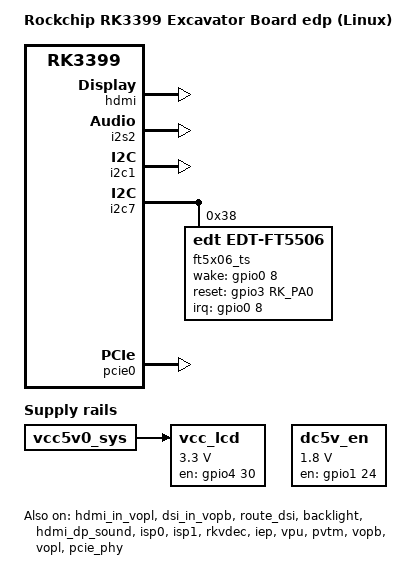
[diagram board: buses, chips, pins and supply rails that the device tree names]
/*
 * Copyright (c) 2016 Fuzhou Rockchip Electronics Co., Ltd
 *
 * This file is dual-licensed: you can use it either under the terms
 * of the GPL or the X11 license, at your option. Note that this dual
 * licensing only applies to this file, and not this project as a
 * whole.
 *
 *  a) This file is free software; you can redistribute it and/or
 *     modify it under the terms of the GNU General Public License as
 *     published by the Free Software Foundation; either version 2 of the
 *     License, or (at your option) any later version.
 *
 *     This file is distributed in the hope that it will be useful,
 *     but WITHOUT ANY WARRANTY; without even the implied warranty of
 *     MERCHANTABILITY or FITNESS FOR A PARTICULAR PURPOSE.  See the
 *     GNU General Public License for more details.
 *
 * Or, alternatively,
 *
 *  b) Permission is hereby granted, free of charge, to any person
 *     obtaining a copy of this software and associated documentation
 *     files (the "Software"), to deal in the Software without
 *     restriction, including without limitation the rights to use,
 *     copy, modify, merge, publish, distribute, sublicense, and/or
 *     sell copies of the Software, and to permit persons to whom the
 *     Software is furnished to do so, subject to the following
 *     conditions:
 *
 *     The above copyright notice and this permission notice shall be
 *     included in all copies or substantial portions of the Software.
 *
 *     THE SOFTWARE IS PROVIDED "AS IS", WITHOUT WARRANTY OF ANY KIND,
 *     EXPRESS OR IMPLIED, INCLUDING BUT NOT LIMITED TO THE WARRANTIES
 *     OF MERCHANTABILITY, FITNESS FOR A PARTICULAR PURPOSE AND
 *     NONINFRINGEMENT. IN NO EVENT SHALL THE AUTHORS OR COPYRIGHT
 *     HOLDERS BE LIABLE FOR ANY CLAIM, DAMAGES OR OTHER LIABILITY,
 *     WHETHER IN AN ACTION OF CONTRACT, TORT OR OTHERWISE, ARISING
 *     FROM, OUT OF OR IN CONNECTION WITH THE SOFTWARE OR THE USE OR
 *     OTHER DEALINGS IN THE SOFTWARE.
 */

/dts-v1/;

#include "rk3399-excavator-ind3399b.dtsi"
#include "rk3399-ind-linux.dtsi"
#include "rk3399-vop-clk-set.dtsi"
#include <dt-bindings/display/media-bus-format.h>
#include "rk3399-gm8775_1280_800.dtsi"
/ {
	model = "Rockchip RK3399 Excavator Board edp (Linux)";
	compatible = "rockchip,linux", "rockchip,rk3399-excavator-edp", "rockchip,rk3399";

	vcc_lcd: vcc-lcd {
		compatible = "regulator-fixed";
		regulator-name = "vcc_lcd";
		gpio = <&gpio4 30 GPIO_ACTIVE_HIGH>;
		startup-delay-us = <20000>;
		enable-active-high;
		regulator-min-microvolt = <3300000>;
		regulator-max-microvolt = <3300000>;
		regulator-boot-on;
		vin-supply = <&vcc5v0_sys>;
	};

/*	panel: panel {
		compatible = "simple-panel";
		backlight = <&backlight>;
		power-supply = <&vcc_lcd>;
		enable-gpios = <&gpio1 13 GPIO_ACTIVE_HIGH>;
		prepare-delay-ms = <20>;
		enable-delay-ms = <20>;

		display-timings {
			native-mode = <&timing0>;

			timing0: timing0 {
				clock-frequency = <200000000>;
				hactive = <1536>;
				vactive = <2048>;
				hfront-porch = <12>;
				hsync-len = <16>;
				hback-porch = <48>;
				vfront-porch = <8>;
				vsync-len = <4>;
				vback-porch = <8>;
				hsync-active = <0>;
				vsync-active = <0>;
				de-active = <0>;
				pixelclk-active = <0>;
			};
		};

		ports {
			panel_in: endpoint {
				remote-endpoint = <&edp_out>;
			};
		};
	};*/

	test-power {
		status = "okay";
	};

	dc5v_en:fixedregulator@0 {
		compatible = "regulator-fixed";
		regulator-name = "dc5v_en-supply";
		pinctrl-names = "default";
		pinctrl-0=<&dc5v_gpios>;
		regulator-min-microvolt = <1800000>;
        regulator-max-microvolt = <1800000>;
		gpio  = <&gpio1 24 GPIO_ACTIVE_HIGH>;
		enable-active-high;
		regulator-always-on;
		regulator-boot-on;
		enable-at-boot;
		regulator-initial-state = <3>;
		regulator-state-mem{
		regulator-off-in-suspend;
		};
	};

/*	hdmiin-sound {
		compatible = "rockchip,rockchip-rt5651-tc358749x-sound";
		rockchip,cpu = <&i2s0>;
		rockchip,codec = <&rt5651 &rt5651 &tc358749x>;
		status = "okay";
	};*/
};


/*&edp {
	status = "disabled";
	force-hpd;

	ports {
		port@1 {
			reg = <1>;

			edp_out: endpoint {
				remote-endpoint = <&panel_in>;
			};
		};
	};
};*/

&edp_in_vopl {
	status = "disabled";
};

&hdmi {
	status = "okay";
};

&hdmi_in_vopl {
	status = "okay";
};

&hdmi_in_vopb {
	status = "disabled";
};

&dsi_in_vopl {
	status = "disabled";
};

&dsi_in_vopb {
	status = "okay";
};

&route_dsi {
	status = "okay";
	connect = <&vopb_out_dsi>;
};

&backlight {
	status = "okay";
};


&cdn_dp {
	status = "disabled";
	extcon = <&u2phy0>;
	phys = <&tcphy0_dp>;
};

&hdmi_dp_sound {
	status = "okay";
};

&dp_in_vopb {
	status = "disabled";
};

&i2s2 {
	status = "okay";
};

&i2c1 {
	status = "okay";

	tc358749x: tc358749x@0f {
		compatible = "toshiba,tc358749x";
		reg = <0x0f>;
		power-gpios = <&gpio2 6 GPIO_ACTIVE_HIGH>;
		power18-gpios = <&gpio2 9 GPIO_ACTIVE_HIGH>;
		power33-gpios = <&gpio2 5 GPIO_ACTIVE_HIGH>;
		csi-ctl-gpios = <&gpio2 10 GPIO_ACTIVE_HIGH>;
		stanby-gpios = <&gpio2 8 GPIO_ACTIVE_HIGH>;
		reset-gpios = <&gpio2 7 GPIO_ACTIVE_HIGH>;
		int-gpios = <&gpio2 12 GPIO_ACTIVE_HIGH>;
		pinctrl-names = "default";
		pinctrl-0 = <&hdmiin_gpios>;
		status = "disabled";
	};
};

&i2c7 {
	status = "okay";
	ft5x06_ts@38 {
		status = "okay";
		compatible = "edt,edt-ft5506";
		reg = <0x38>;
		pinctrl-names = "default";
		interrupt-parent = <&gpio0>;
		interrupts = <8 IRQ_TYPE_EDGE_FALLING>;
		wake-gpios = <&gpio0 8 IRQ_TYPE_LEVEL_LOW>;
		reset-gpios = <&gpio3 RK_PA0 GPIO_ACTIVE_HIGH>;
		max-x = <1280>;
		max-y = <800>;
		//tp-size = <101>;
	};
};

&i2c6 {
	cw2015@62 {
		status = "disabled";
		compatible = "cw201x";
		reg = <0x62>;
		bat_config_info = <0x15 0x42 0x60 0x59 0x52 0x58 0x4D 0x48
				   0x48 0x44 0x44 0x46 0x49 0x48 0x32 0x24
				   0x20 0x17 0x13 0x0F 0x19 0x3E 0x51 0x45
				   0x08 0x76 0x0B 0x85 0x0E 0x1C 0x2E 0x3E
				   0x4D 0x52 0x52 0x57 0x3D 0x1B 0x6A 0x2D
				   0x25 0x43 0x52 0x87 0x8F 0x91 0x94 0x52
				   0x82 0x8C 0x92 0x96 0xFF 0x7B 0xBB 0xCB
				   0x2F 0x7D 0x72 0xA5 0xB5 0xC1 0x46 0xAE>;
		monitor_sec = <5>;
		virtual_power = <0>;
	};
};

&isp0 {
	status = "okay";
};

&isp1 {
	status = "okay";
};

&isp0_mmu {
	status = "okay";
};

&isp1_mmu {
	status = "okay";
};

&i2s2 {
	#sound-dai-cells = <0>;
	rockchip,bclk-fs = <128>;
};

&rkvdec {
	status = "okay";
};

&iep {
	status = "okay";
};

&iep_mmu {
	status = "okay";
};

&vpu {
	status = "okay";
};

&pvtm {
	status = "okay";
};

&vopb {
	status = "okay";
	assigned-clocks = <&cru DCLK_VOP0_DIV>;
	assigned-clock-parents = <&cru PLL_CPLL>;
};

&vopl {
	status = "okay";
	assigned-clocks = <&cru DCLK_VOP1_DIV>;
	assigned-clock-parents = <&cru PLL_VPLL>;
};

&vopl_mmu {
	status ="okay";
};

&vopb_mmu {
	status = "okay";
};

&pcie_phy {
	status = "okay";
};

&pcie0 {
	status = "okay";
};

&route_edp {
	status = "disabled";
};

&pinctrl {

	hdmiin {
		hdmiin_gpios: hdmiin_gpios {
		rockchip,pins =
				<2 5 RK_FUNC_GPIO &pcfg_pull_none>,
				<2 6 RK_FUNC_GPIO &pcfg_pull_none>,
				<2 7 RK_FUNC_GPIO &pcfg_pull_none>,
				<2 8 RK_FUNC_GPIO &pcfg_pull_none>,
				<2 9 RK_FUNC_GPIO &pcfg_pull_none>,
				<2 12 RK_FUNC_GPIO &pcfg_pull_none>;
		};
	};

	tp_irq {
		tp_irq_gpio: tp-irq-gpio {
			rockchip,pins = <3 RK_PB0 RK_FUNC_GPIO &pcfg_pull_up>;
		};
	};

	dc5v_en {
		dc5v_gpios: dc5v-gpios {
			rockchip,pins =
				<1 24 RK_FUNC_GPIO &pcfg_pull_up>;
		};
	};
};


